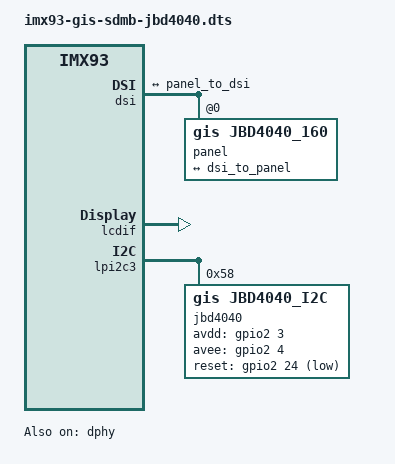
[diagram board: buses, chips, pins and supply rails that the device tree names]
// SPDX-License-Identifier: (GPL-2.0+ OR MIT)
/*
 * Copyright 2024 NXP
 */

#include "imx93-gis-sdmb.dts"
//#include "imx93-gis-frdm-test-jbd4040.dts"
//#include <dt-bindings/clock/imx93-clock.h>

&lvds_bridge {
	status = "disabled";
};

&ldb {
	status = "disabled";
};

&ldb_phy {
	status = "disabled";
};

&dphy {
	status = "okay";
};

&dsi {
    status = "okay";

    ports {
        port@1{
            reg = <1>;

            dsi_to_panel: endpoint {
                remote-endpoint = <&panel_to_dsi>;
            };
        };
    };

    panel@0{
        reg = <0>;
        //compatible = "ws,ws_800x480";
        compatible = "gis,jbd4040_160";

        ports {
            port@1{
                panel_to_dsi: endpoint {
                    remote-endpoint = <&dsi_to_panel>;
                };
            };
        };
    };
};

&lcdif {
	//assigned-clock-rates = <484000000>, <121000000>, <400000000>, <133333333>;
	assigned-clock-rates = <480000000>, <160000000>, <400000000>, <133333333>;
        status = "okay";
};



//&lpi2c1 {
&lpi2c3 {
        jbd4040: panel_r@58 {
                compatible = "gis,jbd4040_i2c";
                reg = <0x58>;
                status = "okay";

                pinctrl-names = "default";
                pinctrl-0 = <&pinctrl_jbdpmic>;

                /* 2. 定義各個控制引腳 (對應 GPIO2 的各個管腳) */
                //dvdd-gpios  = <&gpio2 6  GPIO_ACTIVE_HIGH>;
                //vddi-gpios  = <&gpio2 19 GPIO_ACTIVE_HIGH>;
                avdd-gpios  = <&gpio2 3 GPIO_ACTIVE_HIGH>;
                avee-gpios  = <&gpio2 4 GPIO_ACTIVE_HIGH>;
                reset-gpios = <&gpio2 24 GPIO_ACTIVE_LOW>;
                 
        	regmap {
            		luminance@200a14 {
                		reg = <0x200a14>;
                		bitmask = <0x00001fff>;
                		label = "luminance";
            		};
            		current@200100 {
                		reg = <0x200100>;
                		bitmask = <0x000000ff>;
                		label = "current";
            		};
            		temperature@200404 {
                		reg = <0x200404>;
                		bitmask = <0x000003ff>;
                		label = "temperature";
            		};
            		flip@20020e {
                		reg = <0x20020e>;
                		bitmask = <0x00000002>;
               			label = "flip";
            		};
            		mirror@20020e {
                		reg = <0x20020e>;
                		bitmask = <0x00000001>;
                		label = "mirror";
            		};
            		offset@200a24 {
                		reg = <0x200a24>;
                		bitmask = <0x00001f1f>;
                		label = "offset";
            		};
                        fps@200a00 {
                                reg = <0x200a00>;
                                bitmask = <0x00000007>;
                                label = "fps"; 
                        };
        	};
        };
    	panel_g@59 {
        	        compatible = "gis,jbd4040_i2c_59_dummy";
                	reg = <0x59>;
                	status = "okay";
    	};
    	panel_g@5a {
        	        compatible = "gis,jbd4040_i2c_5a_dummy";
                	reg = <0x5a>;
                	status = "okay";
    	};
    	panel_g@5b {
                	compatible = "gis,jbd4040_i2c_5b_dummy";
                	reg = <0x5b>;
                	status = "okay";
    	};
};

&iomuxc {
    pinctrl_jbdpmic: jbdpmicgrp {
        fsl,pins = <
            MX93_PAD_GPIO_IO03__GPIO2_IO03 	0x40000041
            MX93_PAD_GPIO_IO04__GPIO2_IO04 	0x40000041
            MX93_PAD_GPIO_IO24__GPIO2_IO24 	0x40000041
        >;
    };
};


